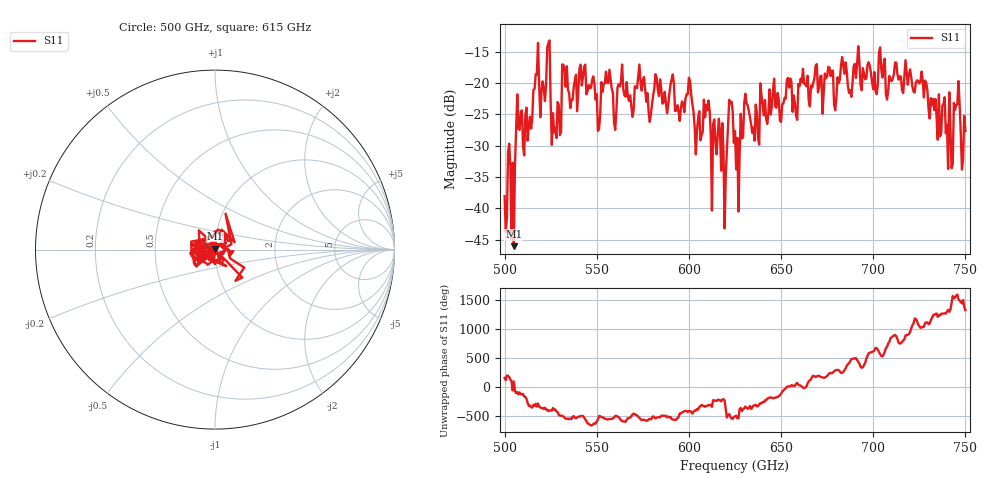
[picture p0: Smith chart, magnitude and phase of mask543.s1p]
!Created with skrf (http://scikit-rf.org).
# GHz S MA R 50.0
!freq magS11 angS11
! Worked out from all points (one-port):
!   401 points, 500 GHz to 750 GHz, reference 50 ohm
!   lowest |S11| = -46.1 dB at 505 GHz (marker M1), VSWR 1.01, Z = 50 + j0.496 ohm
!   |S11| at or under -10 dB: start of sweep to end of sweep
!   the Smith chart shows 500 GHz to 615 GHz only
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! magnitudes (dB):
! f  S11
! 500 GHz  -38.1
! 505 GHz  -46.1
! 507.5 GHz  -27.3
! 513.8 GHz  -25.4
! 516.9 GHz  -18.6
! 520.6 GHz  -19.8
! 523.8 GHz  -13.7
! 526.9 GHz  -27.9
! 531.2 GHz  -17.1
! 542.5 GHz  -19.1
! 550.6 GHz  -27.7
! 562.5 GHz  -20.6
! 593.8 GHz  -23.6
! 609.4 GHz  -23.5
! 618.8 GHz  -30.9
! 622.5 GHz  -23.2
! 625 GHz  -27.7
! 628.1 GHz  -24.9
! 631.2 GHz  -23.3
! 636.9 GHz  -24.8
! 656.2 GHz  -24.6
! 680 GHz  -22.4
! 683.8 GHz  -17.1
! 687.5 GHz  -21.2
! 718.8 GHz  -20.3
! 741.9 GHz  -27.1
! 745 GHz  -23.5
! 750 GHz  -27.7
